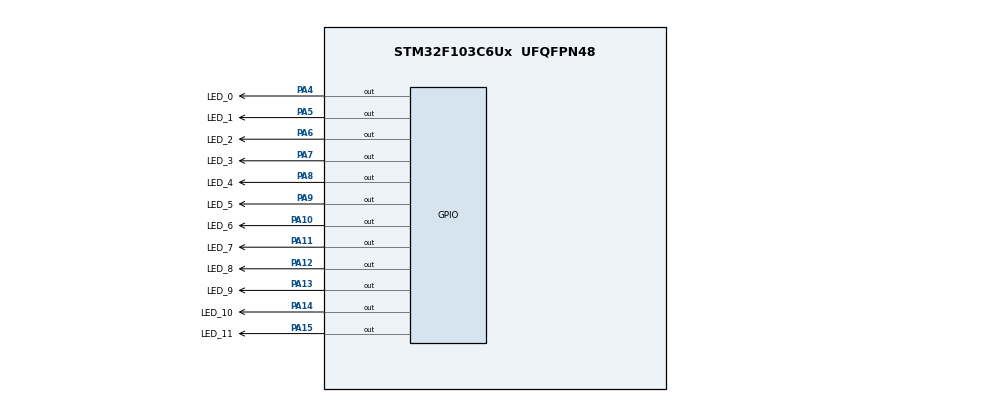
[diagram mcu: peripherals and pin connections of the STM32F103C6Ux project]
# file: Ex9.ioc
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Mcu.Family=STM32F1
Mcu.Name=STM32F103C6Ux
Mcu.Package=UFQFPN48
NVIC.PriorityGroup=NVIC_PRIORITYGROUP_4
PA10.GPIO_Label=LED_6
PA10.Signal=GPIO_Output
PA11.GPIO_Label=LED_7
PA11.Signal=GPIO_Output
PA12.GPIO_Label=LED_8
PA12.Signal=GPIO_Output
PA13.GPIO_Label=LED_9
PA13.Signal=GPIO_Output
PA14.GPIO_Label=LED_10
PA14.Signal=GPIO_Output
PA15.GPIO_Label=LED_11
PA15.Signal=GPIO_Output
PA4.GPIO_Label=LED_0
PA4.Signal=GPIO_Output
PA5.GPIO_Label=LED_1
PA5.Signal=GPIO_Output
PA6.GPIO_Label=LED_2
PA6.Signal=GPIO_Output
PA7.GPIO_Label=LED_3
PA7.Signal=GPIO_Output
PA8.GPIO_Label=LED_4
PA8.Signal=GPIO_Output
PA9.GPIO_Label=LED_5
PA9.Signal=GPIO_Output
ProjectManager.HeapSize=0x200
ProjectManager.StackSize=0x400
ProjectManager.TargetToolchain=STM32CubeIDE
RCC.APB1Freq_Value=8000000
RCC.APB2Freq_Value=8000000
VP_SYS_VS_ND.Mode=No_Debug
board=custom

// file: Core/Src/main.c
/* USER CODE BEGIN Header */
/**
  ******************************************************************************
  * @file           : main.c
  * @brief          : Main program body
  ******************************************************************************
  * @attention
  *
  * <h2><center>&copy; Copyright (c) 2022 STMicroelectronics.
  * All rights reserved.</center></h2>
  *
  * This software component is licensed by ST under BSD 3-Clause license,
  * the "License"; You may not use this file except in compliance with the
  * License. You may obtain a copy of the License at:
  *                        opensource.org/licenses/BSD-3-Clause
  *
  ******************************************************************************
  */
/* USER CODE END Header */
#include "main.h"

void SystemClock_Config(void);
static void MX_GPIO_Init(void);

/* USER CODE BEGIN 0 */
void clearNumberOnClock(int num){
	switch(num){
	case 0:
		HAL_GPIO_WritePin(LED_0_GPIO_Port, LED_0_Pin, 1);
		break;
	case 1:
		HAL_GPIO_WritePin(LED_1_GPIO_Port, LED_1_Pin, 1);
		break;
	case 2:
		HAL_GPIO_WritePin(LED_2_GPIO_Port, LED_2_Pin, 1);
		break;
	case 3:
		HAL_GPIO_WritePin(LED_3_GPIO_Port, LED_3_Pin, 1);
		break;
	case 4:
		HAL_GPIO_WritePin(LED_4_GPIO_Port, LED_4_Pin, 1);
		break;
	case 5:
		HAL_GPIO_WritePin(LED_5_GPIO_Port, LED_5_Pin, 1);
		break;
	case 6:
		HAL_GPIO_WritePin(LED_6_GPIO_Port, LED_6_Pin, 1);
		break;
	case 7:
		HAL_GPIO_WritePin(LED_7_GPIO_Port, LED_7_Pin, 1);
		break;
	case 8:
		HAL_GPIO_WritePin(LED_8_GPIO_Port, LED_8_Pin, 1);
		break;
	case 9:
		HAL_GPIO_WritePin(LED_9_GPIO_Port, LED_9_Pin, 1);
		break;
	case 10:
		HAL_GPIO_WritePin(LED_10_GPIO_Port, LED_10_Pin, 1);
		break;
	case 11:
		HAL_GPIO_WritePin(LED_11_GPIO_Port, LED_11_Pin, 1);
		break;
	default:
		break;
	}
}
/* USER CODE END 0 */

int main(void)
{

  /* MCU Configuration--------------------------------------------------------*/

  /* Reset of all peripherals, Initializes the Flash interface and the Systick. */
  HAL_Init();

  /* Configure the system clock */
  SystemClock_Config();

  /* Initialize all configured peripherals */
  MX_GPIO_Init();

  /* Infinite loop */
  /* USER CODE BEGIN WHILE */
  int count =0, flag =0;
  while (1)
  {
    /* USER CODE END WHILE */
	 if (flag ==0){
		  HAL_GPIO_WritePin(LED_0_GPIO_Port, LED_0_Pin, 0);
		  HAL_GPIO_WritePin(LED_1_GPIO_Port, LED_1_Pin, 0);
		  HAL_GPIO_WritePin(LED_2_GPIO_Port, LED_2_Pin, 0);
		  HAL_GPIO_WritePin(LED_3_GPIO_Port, LED_3_Pin, 0);
		  HAL_GPIO_WritePin(LED_4_GPIO_Port, LED_4_Pin, 0);
		  HAL_GPIO_WritePin(LED_5_GPIO_Port, LED_5_Pin, 0);
		  HAL_GPIO_WritePin(LED_6_GPIO_Port, LED_6_Pin, 0);
		  HAL_GPIO_WritePin(LED_7_GPIO_Port, LED_7_Pin, 0);
		  HAL_GPIO_WritePin(LED_8_GPIO_Port, LED_8_Pin, 0);
		  HAL_GPIO_WritePin(LED_9_GPIO_Port, LED_9_Pin, 0);
		  HAL_GPIO_WritePin(LED_10_GPIO_Port, LED_10_Pin, 0);
		  HAL_GPIO_WritePin(LED_11_GPIO_Port, LED_11_Pin, 0);
	 }

	 switch (count){
	 case 11:
		 clearNumberOnClock(count);
		 count =0;
		 flag =0;
		 break;
	 default:
		 clearNumberOnClock(count);
		 flag =1;
		 count++;
		 break;
	 }

	 HAL_Delay(1000);
  }
}

void SystemClock_Config(void)
{
  RCC_OscInitTypeDef RCC_OscInitStruct = {0};
  RCC_ClkInitTypeDef RCC_ClkInitStruct = {0};

  /** Initializes the RCC Oscillators according to the specified parameters
  * in the RCC_OscInitTypeDef structure.
  */
  RCC_OscInitStruct.OscillatorType = RCC_OSCILLATORTYPE_HSI;
  RCC_OscInitStruct.HSIState = RCC_HSI_ON;
  RCC_OscInitStruct.HSICalibrationValue = RCC_HSICALIBRATION_DEFAULT;
  RCC_OscInitStruct.PLL.PLLState = RCC_PLL_NONE;
  if (HAL_RCC_OscConfig(&RCC_OscInitStruct) != HAL_OK)
  {
    Error_Handler();
  }
  /** Initializes the CPU, AHB and APB buses clocks
  */
  RCC_ClkInitStruct.ClockType = RCC_CLOCKTYPE_HCLK|RCC_CLOCKTYPE_SYSCLK
                              |RCC_CLOCKTYPE_PCLK1|RCC_CLOCKTYPE_PCLK2;
  RCC_ClkInitStruct.SYSCLKSource = RCC_SYSCLKSOURCE_HSI;
  RCC_ClkInitStruct.AHBCLKDivider = RCC_SYSCLK_DIV1;
  RCC_ClkInitStruct.APB1CLKDivider = RCC_HCLK_DIV1;
  RCC_ClkInitStruct.APB2CLKDivider = RCC_HCLK_DIV1;

  if (HAL_RCC_ClockConfig(&RCC_ClkInitStruct, FLASH_LATENCY_0) != HAL_OK)
  {
    Error_Handler();
  }
}

static void MX_GPIO_Init(void)
{
  GPIO_InitTypeDef GPIO_InitStruct = {0};

  /* GPIO Ports Clock Enable */
  __HAL_RCC_GPIOA_CLK_ENABLE();

  /*Configure GPIO pin Output Level */
  HAL_GPIO_WritePin(GPIOA, LED_0_Pin|LED_1_Pin|LED_2_Pin|LED_3_Pin
                          |LED_4_Pin|LED_5_Pin|LED_6_Pin|LED_7_Pin
                          |LED_8_Pin|LED_9_Pin|LED_10_Pin|LED_11_Pin, GPIO_PIN_RESET);

  /*Configure GPIO pins : LED_0_Pin LED_1_Pin LED_2_Pin LED_3_Pin
                           LED_4_Pin LED_5_Pin LED_6_Pin LED_7_Pin
                           LED_8_Pin LED_9_Pin LED_10_Pin LED_11_Pin */
  GPIO_InitStruct.Pin = LED_0_Pin|LED_1_Pin|LED_2_Pin|LED_3_Pin
                          |LED_4_Pin|LED_5_Pin|LED_6_Pin|LED_7_Pin
                          |LED_8_Pin|LED_9_Pin|LED_10_Pin|LED_11_Pin;
  GPIO_InitStruct.Mode = GPIO_MODE_OUTPUT_PP;
  GPIO_InitStruct.Pull = GPIO_NOPULL;
  GPIO_InitStruct.Speed = GPIO_SPEED_FREQ_LOW;
  HAL_GPIO_Init(GPIOA, &GPIO_InitStruct);

}

void Error_Handler(void)
{
  __disable_irq();
  while (1)
  {
  }
}

/************************ (C) COPYRIGHT STMicroelectronics *****END OF FILE****/
